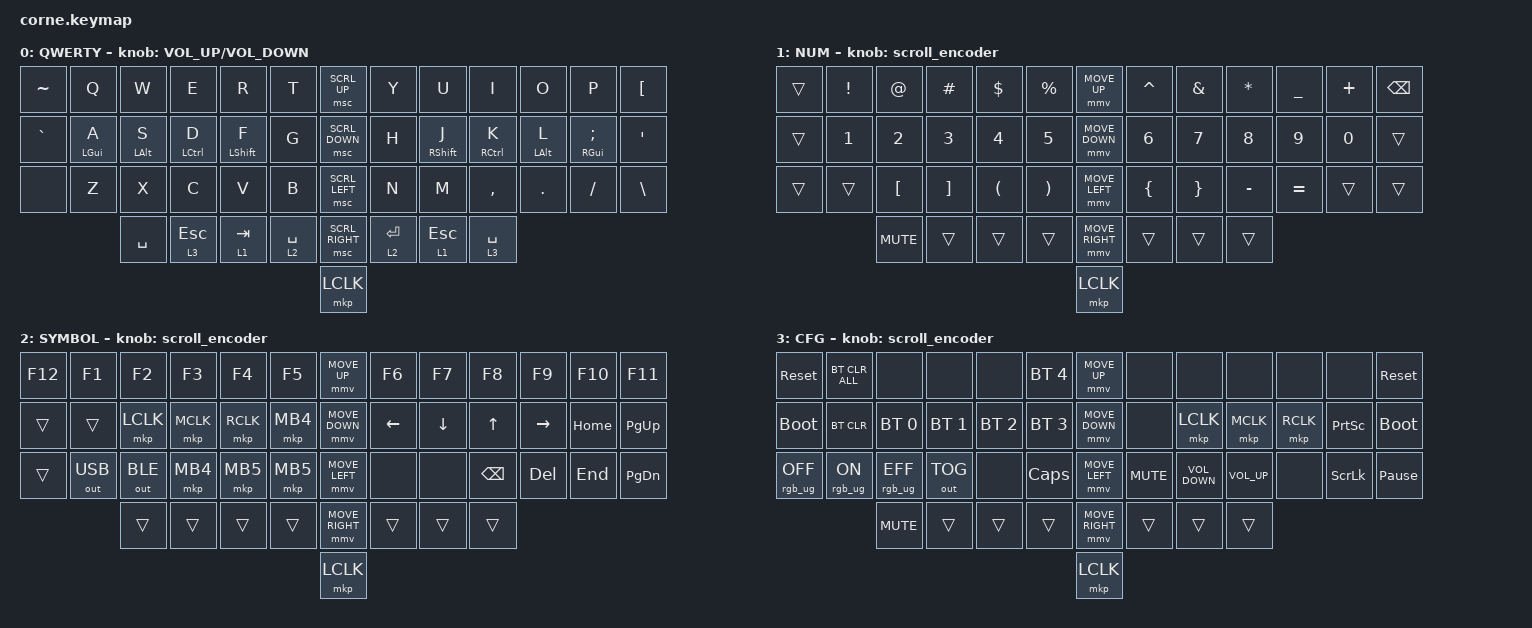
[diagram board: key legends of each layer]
#include <behaviors/mouse_keys.dtsi>
#include <dt-bindings/zmk/mouse.h>
#include <behaviors.dtsi>
#include <dt-bindings/zmk/bt.h>
#include <dt-bindings/zmk/keys.h>
#include <dt-bindings/zmk/outputs.h>
#include <dt-bindings/zmk/pointing.h>
#include <dt-bindings/zmk/pointing.h>
#include <dt-bindings/zmk/pointing.h>
#include <dt-bindings/zmk/rgb.h>

#define ZMK_MOUSE_DEFAULT_MOVE_VAL 1200  // 600
#define ZMK_MOUSE_DEFAULT_SCRL_VAL 20    // 10
#define U_MS_U &mmv MOVE_UP
#define U_MS_D &mmv MOVE_DOWN
#define U_MS_L &mmv MOVE_LEFT
#define U_MS_R &mmv MOVE_RIGHT

/ {
    behaviors {
        hm: homerow_mods {
            compatible = "zmk,behavior-hold-tap";
            #binding-cells = <2>;
            tapping-term-ms = <170>;    // <---[[moderate duration]]
            quick-tap-ms = <0>;
            flavor = "balanced";
            bindings = <&kp>, <&kp>;
        };

        td0: td0 {
            compatible = "zmk,behavior-tap-dance";
            label = "TD0";
            #binding-cells = <0>;
            bindings = <&kp LEFT_SHIFT>, <&kp CAPS>;
        };

        mmv {
            acceleration-exponent = <1>;      // 1
            time-to-max-speed-ms = <900>;    // 40
            delay-ms = <0>;                   // 0
        };

        msc {
            acceleration-exponent = <1>;      // 0
            time-to-max-speed-ms = <400>;      // 500
            delay-ms = <0>;                   // 10
        };
    };

    rgb_encoder: rgb_encoder {
        compatible = "zmk,behavior-sensor-rotate";
        label = "RGB_ENCODER";
        #sensor-binding-cells = <0>;
        bindings = <&rgb_ug RGB_BRI>, <&rgb_ug RGB_BRD>;
    };

    scroll_encoder: scroll_encoder {
        compatible = "zmk,behavior-sensor-rotate";
        #sensor-binding-cells = <0>;
        bindings = <&msc SCRL_DOWN>, <&msc SCRL_UP>;

        tap-ms = <30>;
    };

    keymap {
        compatible = "zmk,keymap";

        default_layer {
            display-name = "QWERTY";

            // --------------------------------------------------------------------------------
            // |  TAB |  Q  |  W  |  E  |  R  |  T  |                ↑    |  Y  |  U   |  I  |  O  |  P  | BKSP |      &kp UP_ARROW 
            // | SHIFT |  A  |  S  |  D  |  F  |  G  |               ↓    |  H  |  J   |  K  |  L  |  ;  |  '   | 
            // | CTRL |  Z  |  X  |  C  |  V  |  B  |                ←    |  N  |  M   |  ,  |  .  |  /  | ESC  |
            //                    | GUI | LWR | SPC |                →    | ENT | RSE  | ALT |
            //                                                      enter

            bindings = <
&kp TILDE  &kp Q           &kp W           &kp E        &kp R             &kp T          &msc SCRL_UP     &kp Y        &kp U              &kp I        &kp O           &kp P               &kp LEFT_BRACKET
&kp GRAVE  &hm LEFT_GUI A  &hm LEFT_ALT S  &hm LCTRL D  &hm LEFT_SHIFT F  &kp G          &msc SCRL_DOWN   &kp H        &hm RIGHT_SHIFT J  &hm RCTRL K  &hm LEFT_ALT L  &hm RIGHT_GUI SEMI  &kp SQT
&none      &kp Z           &kp X           &kp C        &kp V             &kp B          &msc SCRL_LEFT   &kp N        &kp M              &kp COMMA    &kp DOT         &kp FSLH            &kp BACKSLASH
                           &kp SPACE       &lt 3 ESC    &lt 1 TAB         &lt 2 SPACE    &msc SCRL_RIGHT  &lt 2 ENTER  &lt 1 ESC          &lt 3 SPACE
                                                                                         &mkp LCLK
            >;

            label = "QWERTY";
            sensor-bindings = <&inc_dec_kp C_VOLUME_UP C_VOLUME_DOWN>;
        };

        lower_layer {
            display-name = "NUM";

            // -----------------------------------------------------------------------------------------
            // |  TAB |  1  |  2  |  3  |  4  |  5  |   |  6  |  7  |  8  |  9  |  0  | BKSP |
            // | BTCLR| BT1 | BT2 | BT3 | BT4 | BT5 |   | LFT | DWN |  UP | RGT |     |      |
            // | SHFT |     |     |     |     |     |   |     |     |     |     |     |      |
            //                    | GUI |     | SPC |   | ENT |     | ALT |

            bindings = <
&trans  &kp EXCLAMATION  &kp AT_SIGN       &kp HASH           &kp DOLLAR            &kp PERCENT              &mmv MOVE_UP     &kp CARET       &kp AMPERSAND    &kp ASTERISK  &kp UNDERSCORE  &kp PLUS  &kp BSPC
&trans  &kp N1           &kp N2            &kp N3             &kp N4                &kp N5                   &mmv MOVE_DOWN   &kp N6          &kp N7           &kp N8        &kp N9          &kp N0    &trans
&trans  &trans           &kp LEFT_BRACKET  &kp RIGHT_BRACKET  &kp LEFT_PARENTHESIS  &kp RIGHT_PARENTHESIS    &mmv MOVE_LEFT   &kp LEFT_BRACE  &kp RIGHT_BRACE  &kp MINUS     &kp EQUAL       &trans    &trans
                         &kp C_MUTE        &trans             &trans                &trans                   &mmv MOVE_RIGHT  &trans          &trans           &trans
                                                                                                             &mkp LCLK
            >;

            label = "NUMBER";
            sensor-bindings = <&scroll_encoder>;
        };

        raise_layer {
            display-name = "SYMBOL";

            // -----------------------------------------------------------------------------------------
            // |  TAB |  !  |  @  |  #  |  $  |  %  |   |  ^  |  &  |  *  |  (  |  )  | BKSP |
            // | CTRL |     |     |     |     |     |   |  -  |  =  |  [  |  ]  |  \  |  `   |
            // | SHFT |     |     |     |     |     |   |  _  |  +  |  {  |  }  | "|" |  ~   |
            //                    | GUI |     | SPC |   | ENT |     | ALT |

            bindings = <
&kp F12  &kp F1        &kp F2        &kp F3     &kp F4     &kp F5      &mmv MOVE_UP     &kp F6          &kp F7          &kp F8         &kp F9           &kp F10   &kp F11
&trans   &trans        &mkp LCLK     &mkp MCLK  &mkp RCLK  &mkp MB4    &mmv MOVE_DOWN   &kp LEFT_ARROW  &kp DOWN_ARROW  &kp UP_ARROW   &kp RIGHT_ARROW  &kp HOME  &kp PAGE_UP
&trans   &out OUT_USB  &out OUT_BLE  &mkp MB4   &mkp MB5   &mkp MB5    &mmv MOVE_LEFT   &none           &none           &kp BACKSPACE  &kp DELETE       &kp END   &kp PAGE_DOWN
                       &trans        &trans     &trans     &trans      &mmv MOVE_RIGHT  &trans          &trans          &trans
                                                                       &mkp LCLK
            >;

            label = "SYMBOL";
            sensor-bindings = <&scroll_encoder>;
        };

        config {
            display-name = "CFG";
            bindings = <
&sys_reset       &bt BT_CLR_ALL  &none            &none         &none         &bt BT_SEL 4    &mmv MOVE_UP     &none       &none              &none            &none      &none            &sys_reset
&bootloader      &bt BT_CLR      &bt BT_SEL 0     &bt BT_SEL 1  &bt BT_SEL 2  &bt BT_SEL 3    &mmv MOVE_DOWN   &none       &mkp LCLK          &mkp MCLK        &mkp RCLK  &kp PRINTSCREEN  &bootloader
&rgb_ug RGB_OFF  &rgb_ug RGB_ON  &rgb_ug RGB_EFF  &out OUT_TOG  &none         &kp CAPSLOCK    &mmv MOVE_LEFT   &kp C_MUTE  &kp C_VOLUME_DOWN  &kp C_VOLUME_UP  &none      &kp SCROLLLOCK   &kp PAUSE_BREAK
                                 &kp C_MUTE       &trans        &trans        &trans          &mmv MOVE_RIGHT  &trans      &trans             &trans
                                                                                              &mkp LCLK
            >;

            label = "FN";
            sensor-bindings = <&scroll_encoder>;
        };
    };
};
